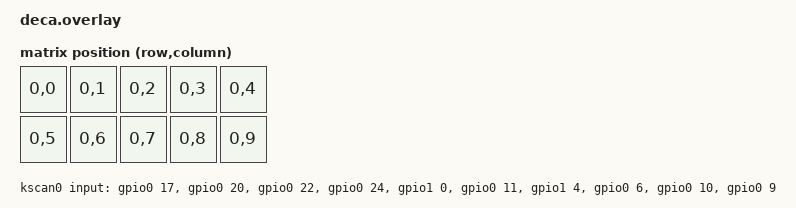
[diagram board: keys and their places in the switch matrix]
#include <dt-bindings/zmk/matrix_transform.h>
#include "deca-layouts.dtsi"

/ {
    chosen {
        zmk,physical-layout = &deca_layout;
        zmk,kscan = &kscan0;
        zmk,matrix-transform = &deca_transform;
    };

    /* 1×10 identity transform for gpio-direct */
    deca_transform: matrix_transform {
        compatible = "zmk,matrix-transform";
        rows = <1>;
        columns = <10>;
        map = <
            RC(0,0) RC(0,1) RC(0,2) RC(0,3) RC(0,4)
            RC(0,5) RC(0,6) RC(0,7) RC(0,8) RC(0,9)
        >;
    };

    /* Direct GPIO scan */
    kscan0: kscan {
        compatible = "zmk,kscan-gpio-direct";
        label = "KSCAN";

        input-gpios = <
            &gpio0 17 (GPIO_ACTIVE_LOW | GPIO_PULL_UP) /* i1 */
            &gpio0 20 (GPIO_ACTIVE_LOW | GPIO_PULL_UP) /* m1 */
            &gpio0 22 (GPIO_ACTIVE_LOW | GPIO_PULL_UP) /* r1 */
            &gpio0 24 (GPIO_ACTIVE_LOW | GPIO_PULL_UP) /* p1 */

            &gpio1 0  (GPIO_ACTIVE_LOW | GPIO_PULL_UP) /* i2 */
            &gpio0 11 (GPIO_ACTIVE_LOW | GPIO_PULL_UP) /* m2 */
            &gpio1 4  (GPIO_ACTIVE_LOW | GPIO_PULL_UP) /* r2 */
            &gpio0 6  (GPIO_ACTIVE_LOW | GPIO_PULL_UP) /* p2 */

            &gpio0 10 (GPIO_ACTIVE_LOW | GPIO_PULL_UP) /* t1 */
            &gpio0 9  (GPIO_ACTIVE_LOW | GPIO_PULL_UP) /* t2 */
        >;
    };
};
